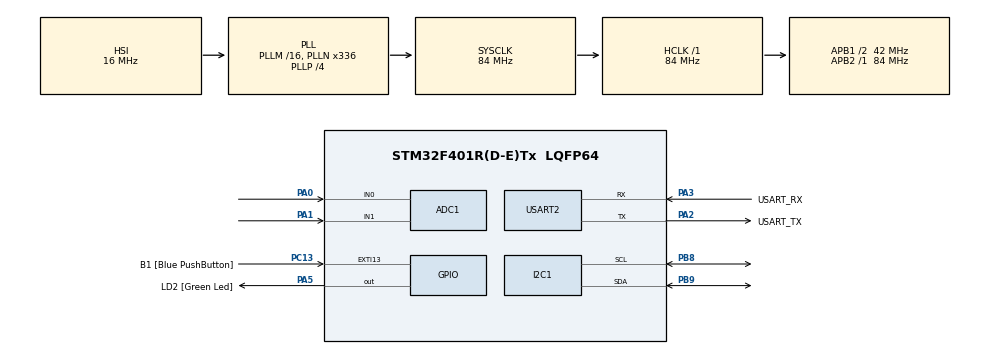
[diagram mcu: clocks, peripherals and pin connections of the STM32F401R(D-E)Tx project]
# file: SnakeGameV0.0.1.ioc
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ADC1.Channel-0\#ChannelRegularConversion=ADC_CHANNEL_0
ADC1.Channel-2\#ChannelRegularConversion=ADC_CHANNEL_1
ADC1.ContinuousConvMode=ENABLE
ADC1.DMAContinuousRequests=ENABLE
ADC1.NbrOfConversion=2
ADC1.NbrOfConversionFlag=1
ADC1.Rank-0\#ChannelRegularConversion=1
ADC1.Rank-2\#ChannelRegularConversion=2
ADC1.SamplingTime-0\#ChannelRegularConversion=ADC_SAMPLETIME_112CYCLES
ADC1.SamplingTime-2\#ChannelRegularConversion=ADC_SAMPLETIME_112CYCLES
ADC1.ScanConvMode=ENABLE
ADC1.master=1
Dma.ADC1.0.Direction=DMA_PERIPH_TO_MEMORY
Dma.ADC1.0.FIFOMode=DMA_FIFOMODE_DISABLE
Dma.ADC1.0.Instance=DMA2_Stream0
Dma.ADC1.0.MemDataAlignment=DMA_MDATAALIGN_HALFWORD
Dma.ADC1.0.MemInc=DMA_MINC_ENABLE
Dma.ADC1.0.Mode=DMA_CIRCULAR
Dma.ADC1.0.PeriphDataAlignment=DMA_PDATAALIGN_HALFWORD
Dma.ADC1.0.PeriphInc=DMA_PINC_DISABLE
Dma.ADC1.0.Priority=DMA_PRIORITY_LOW
Dma.Request0=ADC1
FREERTOS.BinarySemaphores01=ContinueGame,Dynamic,NULL,Available;NewScreen,Dynamic,NULL,Available;GameOver,Dynamic,NULL,Available
FREERTOS.Mutexes01=MutexForScreen,Dynamic,NULL,Available
FREERTOS.Queues01=Command,1,uint16_t,0,Dynamic,NULL,NULL
FREERTOS.Tasks01=defaultTask,24,128,StartDefaultTask,Default,NULL,Dynamic,NULL,NULL;GameLogic,9,256,StartGameLogic,Default,NULL,Dynamic,NULL,NULL;Stick,10,256,StartStick,Default,NULL,Dynamic,NULL,NULL;Screen,8,256,StartScreen,Default,NULL,Dynamic,NULL,NULL
FREERTOS.configUSE_NEWLIB_REENTRANT=1
I2C1.I2C_Mode=I2C_Fast
Mcu.Family=STM32F4
Mcu.Name=STM32F401R(D-E)Tx
Mcu.Package=LQFP64
NVIC.DMA2_Stream0_IRQn=true\:5\:0\:false\:false\:true\:true\:false\:true\:false
NVIC.PriorityGroup=NVIC_PRIORITYGROUP_4
NVIC.TIM1_UP_TIM10_IRQn=true\:15\:0\:false\:false\:true\:false\:false\:true\:true
NVIC.TimeBase=TIM1_UP_TIM10_IRQn
NVIC.TimeBaseIP=TIM1
PA0-WKUP.Signal=ADCx_IN0
PA1.Signal=ADCx_IN1
PA13.GPIO_Label=TMS
PA13.Mode=Trace_Asynchronous_SW
PA13.Signal=SYS_JTMS-SWDIO
PA14.GPIO_Label=TCK
PA14.Mode=Trace_Asynchronous_SW
PA14.Signal=SYS_JTCK-SWCLK
PA2.GPIO_Label=USART_TX
PA2.GPIO_Mode=GPIO_MODE_AF_PP
PA2.GPIO_PuPd=GPIO_NOPULL
PA2.GPIO_Speed=GPIO_SPEED_FREQ_LOW
PA2.Mode=Asynchronous
PA2.Signal=USART2_TX
PA3.GPIO_Label=USART_RX
PA3.GPIO_Mode=GPIO_MODE_AF_PP
PA3.GPIO_PuPd=GPIO_NOPULL
PA3.GPIO_Speed=GPIO_SPEED_FREQ_LOW
PA3.Mode=Asynchronous
PA3.Signal=USART2_RX
PA5.GPIO_Label=LD2 [Green Led]
PA5.GPIO_Mode=GPIO_MODE_OUTPUT_PP
PA5.GPIO_PuPd=GPIO_NOPULL
PA5.GPIO_Speed=GPIO_SPEED_FREQ_LOW
PA5.Signal=GPIO_Output
PB3.GPIO_Label=SWO
PB3.Mode=Trace_Asynchronous_SW
PB3.Signal=SYS_JTDO-SWO
PB8.Mode=I2C
PB8.Signal=I2C1_SCL
PB9.Mode=I2C
PB9.Signal=I2C1_SDA
PC13-ANTI_TAMP.GPIO_Label=B1 [Blue PushButton]
PC13-ANTI_TAMP.GPIO_ModeDefaultEXTI=GPIO_MODE_IT_FALLING
PC13-ANTI_TAMP.GPIO_PuPd=GPIO_NOPULL
PC13-ANTI_TAMP.Signal=GPXTI13
PC14-OSC32_IN.Mode=LSE-External-Oscillator
PC14-OSC32_IN.Signal=RCC_OSC32_IN
PC15-OSC32_OUT.Mode=LSE-External-Oscillator
PC15-OSC32_OUT.Signal=RCC_OSC32_OUT
PH0\ -\ OSC_IN.Mode=HSE-External-Clock-Source
PH0\ -\ OSC_IN.Signal=RCC_OSC_IN
PH1\ -\ OSC_OUT.Mode=HSE-External-Clock-Source
PH1\ -\ OSC_OUT.Signal=RCC_OSC_OUT
ProjectManager.HeapSize=0x200
ProjectManager.StackSize=0x400
ProjectManager.TargetToolchain=STM32CubeIDE
RCC.48MHZClocksFreq_Value=48000000
RCC.AHBFreq_Value=84000000
RCC.APB1CLKDivider=RCC_HCLK_DIV2
RCC.APB1Freq_Value=42000000
RCC.APB1TimFreq_Value=84000000
RCC.APB2Freq_Value=84000000
RCC.APB2TimFreq_Value=84000000
RCC.CortexFreq_Value=84000000
RCC.HCLKFreq_Value=84000000
RCC.HSE_VALUE=8000000
RCC.HSI_VALUE=16000000
RCC.PLLN=336
RCC.PLLP=RCC_PLLP_DIV4
RCC.PLLQ=7
RCC.SYSCLKFreq_VALUE=84000000
RCC.SYSCLKSource=RCC_SYSCLKSOURCE_PLLCLK
RCC.VCOOutputFreq_Value=336000000
SH.ADCx_IN0.0=ADC1_IN0,IN0
SH.ADCx_IN1.0=ADC1_IN1,IN1
USART2.VirtualMode=VM_ASYNC
VP_FREERTOS_VS_CMSIS_V2.Mode=CMSIS_V2
VP_SYS_VS_tim1.Mode=TIM1
board=NUCLEO-F401RE

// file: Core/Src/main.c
/* USER CODE BEGIN Header */
/**
  ******************************************************************************
  * @file           : main.c
  * @brief          : Main program body
  ******************************************************************************
  * @attention
  *
  * Copyright (c) 2025 STMicroelectronics.
  * All rights reserved.
  *
  * This software is licensed under terms that can be found in the LICENSE file
  * in the root directory of this software component.
  * If no LICENSE file comes with this software, it is provided AS-IS.
  *
  ******************************************************************************
  */
/* USER CODE END Header */
#include "main.h"
#include "cmsis_os.h"
#include "adc.h"
#include "dma.h"
#include "i2c.h"
#include "usart.h"
#include "gpio.h"

/* USER CODE BEGIN Includes */

#include "ssd1306.h"
#include "SEGGER_SYSVIEW_FreeRTOS.h"

/* USER CODE END Includes */

/* USER CODE BEGIN PV */

extern volatile uint16_t adc_buf[2];
#define DWT_CTRL (*(volatile uint32_t*)0xE0001000)
/* USER CODE END PV */

void SystemClock_Config(void);
void MX_FREERTOS_Init(void);

/* USER CODE BEGIN 0 */
extern Snake* mySnake;
/* USER CODE END 0 */

int main(void)
{

  /* MCU Configuration--------------------------------------------------------*/

  /* Reset of all peripherals, Initializes the Flash interface and the Systick. */
  HAL_Init();

  /* Configure the system clock */
  SystemClock_Config();

  /* Initialize all configured peripherals */
  MX_GPIO_Init();
  MX_DMA_Init();
  MX_USART2_UART_Init();
  MX_ADC1_Init();
  MX_I2C1_Init();
  /* USER CODE BEGIN 2 */

  Snake_SetUp(mySnake,(64-16)/2,128/2);

  ssd1306_Init();
  HAL_ADC_Start_DMA(&hadc1, (uint32_t*)adc_buf, 2);

  DWT_CTRL |= (1<<0);
  NVIC_SetPriorityGrouping( 0 );

  SEGGER_SYSVIEW_Conf();
  SEGGER_UART_init(500000);

  /* USER CODE END 2 */

  /* Init scheduler */
  osKernelInitialize();  /* Call init function for freertos objects (in cmsis_os2.c) */
  MX_FREERTOS_Init();

  /* Start scheduler */
  osKernelStart();

  /* We should never get here as control is now taken by the scheduler */

  /* Infinite loop */
  while (1)
  {

  }
}

void SystemClock_Config(void)
{
  RCC_OscInitTypeDef RCC_OscInitStruct = {0};
  RCC_ClkInitTypeDef RCC_ClkInitStruct = {0};

  /** Configure the main internal regulator output voltage
  */
  __HAL_RCC_PWR_CLK_ENABLE();
  __HAL_PWR_VOLTAGESCALING_CONFIG(PWR_REGULATOR_VOLTAGE_SCALE2);

  /** Initializes the RCC Oscillators according to the specified parameters
  * in the RCC_OscInitTypeDef structure.
  */
  RCC_OscInitStruct.OscillatorType = RCC_OSCILLATORTYPE_HSI;
  RCC_OscInitStruct.HSIState = RCC_HSI_ON;
  RCC_OscInitStruct.HSICalibrationValue = RCC_HSICALIBRATION_DEFAULT;
  RCC_OscInitStruct.PLL.PLLState = RCC_PLL_ON;
  RCC_OscInitStruct.PLL.PLLSource = RCC_PLLSOURCE_HSI;
  RCC_OscInitStruct.PLL.PLLM = 16;
  RCC_OscInitStruct.PLL.PLLN = 336;
  RCC_OscInitStruct.PLL.PLLP = RCC_PLLP_DIV4;
  RCC_OscInitStruct.PLL.PLLQ = 7;
  if (HAL_RCC_OscConfig(&RCC_OscInitStruct) != HAL_OK)
  {
    Error_Handler();
  }

  /** Initializes the CPU, AHB and APB buses clocks
  */
  RCC_ClkInitStruct.ClockType = RCC_CLOCKTYPE_HCLK|RCC_CLOCKTYPE_SYSCLK
                              |RCC_CLOCKTYPE_PCLK1|RCC_CLOCKTYPE_PCLK2;
  RCC_ClkInitStruct.SYSCLKSource = RCC_SYSCLKSOURCE_PLLCLK;
  RCC_ClkInitStruct.AHBCLKDivider = RCC_SYSCLK_DIV1;
  RCC_ClkInitStruct.APB1CLKDivider = RCC_HCLK_DIV2;
  RCC_ClkInitStruct.APB2CLKDivider = RCC_HCLK_DIV1;

  if (HAL_RCC_ClockConfig(&RCC_ClkInitStruct, FLASH_LATENCY_2) != HAL_OK)
  {
    Error_Handler();
  }
}

void HAL_TIM_PeriodElapsedCallback(TIM_HandleTypeDef *htim)
{
  if (htim->Instance == TIM1)
  {
    HAL_IncTick();
  }
}

void Error_Handler(void)
{
  __disable_irq();
  while (1)
  {
  }
}

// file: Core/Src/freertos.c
/* USER CODE BEGIN Header */
/**
  ******************************************************************************
  * File Name          : freertos.c
  * Description        : Code for freertos applications
  ******************************************************************************
  * @attention
  *
  * Copyright (c) 2025 STMicroelectronics.
  * All rights reserved.
  *
  * This software is licensed under terms that can be found in the LICENSE file
  * in the root directory of this software component.
  * If no LICENSE file comes with this software, it is provided AS-IS.
  *
  ******************************************************************************
  */
/* USER CODE END Header */

#include "FreeRTOS.h"
#include "task.h"
#include "main.h"
#include "cmsis_os.h"

/* USER CODE BEGIN Includes */

#include "ssd1306.h"
#include "ssd1306_conf.h"
#include "ssd1306_fonts.h"

#include "MyFunctions.h"
#include "ClassSnake.h"

#include "adc.h"
#include "queue.h"
#include <stdio.h>
#include "semphr.h"
/* USER CODE END Includes */

/* USER CODE BEGIN Variables */
Snake gSnakeObj;
Snake *mySnake = &gSnakeObj;

volatile uint16_t adc_buf[2];

/* USER CODE END Variables */
/* Definitions for defaultTask */
osThreadId_t defaultTaskHandle;
const osThreadAttr_t defaultTask_attributes = {
  .name = "defaultTask",
  .stack_size = 128 * 4,
  .priority = (osPriority_t) osPriorityNormal,
};
/* Definitions for GameLogic */
osThreadId_t GameLogicHandle;
const osThreadAttr_t GameLogic_attributes = {
  .name = "GameLogic",
  .stack_size = 256 * 4,
  .priority = (osPriority_t) osPriorityLow1,
};
/* Definitions for Stick */
osThreadId_t StickHandle;
const osThreadAttr_t Stick_attributes = {
  .name = "Stick",
  .stack_size = 256 * 4,
  .priority = (osPriority_t) osPriorityLow2,
};
/* Definitions for Screen */
osThreadId_t ScreenHandle;
const osThreadAttr_t Screen_attributes = {
  .name = "Screen",
  .stack_size = 256 * 4,
  .priority = (osPriority_t) osPriorityLow,
};
/* Definitions for Command */
osMessageQueueId_t CommandHandle;
const osMessageQueueAttr_t Command_attributes = {
  .name = "Command"
};
/* Definitions for MutexForScreen */
osMutexId_t MutexForScreenHandle;
const osMutexAttr_t MutexForScreen_attributes = {
  .name = "MutexForScreen"
};
/* Definitions for ContinueGame */
osSemaphoreId_t ContinueGameHandle;
const osSemaphoreAttr_t ContinueGame_attributes = {
  .name = "ContinueGame"
};
/* Definitions for NewScreen */
osSemaphoreId_t NewScreenHandle;
const osSemaphoreAttr_t NewScreen_attributes = {
  .name = "NewScreen"
};
/* Definitions for GameOver */
osSemaphoreId_t GameOverHandle;
const osSemaphoreAttr_t GameOver_attributes = {
  .name = "GameOver"
};

void StartDefaultTask(void *argument);
void StartGameLogic(void *argument);
void StartStick(void *argument);
void StartScreen(void *argument);

void MX_FREERTOS_Init(void); /* (MISRA C 2004 rule 8.1) */

void MX_FREERTOS_Init(void) {
  /* Create the mutex(es) */
  /* creation of MutexForScreen */
  MutexForScreenHandle = osMutexNew(&MutexForScreen_attributes);

  /* Create the semaphores(s) */
  /* creation of ContinueGame */
  ContinueGameHandle = osSemaphoreNew(1, 1, &ContinueGame_attributes);

  /* creation of NewScreen */
  NewScreenHandle = osSemaphoreNew(1, 1, &NewScreen_attributes);

  /* creation of GameOver */
  GameOverHandle = osSemaphoreNew(1, 1, &GameOver_attributes);

  /* Create the queue(s) */
  /* creation of Command */
  CommandHandle = osMessageQueueNew (1, sizeof(uint16_t), &Command_attributes);

  /* Create the thread(s) */
  /* creation of defaultTask */
  defaultTaskHandle = osThreadNew(StartDefaultTask, NULL, &defaultTask_attributes);

  /* creation of GameLogic */
  GameLogicHandle = osThreadNew(StartGameLogic, NULL, &GameLogic_attributes);

  /* creation of Stick */
  StickHandle = osThreadNew(StartStick, NULL, &Stick_attributes);

  /* creation of Screen */
  ScreenHandle = osThreadNew(StartScreen, NULL, &Screen_attributes);

}

void StartDefaultTask(void *argument)
{
  /* USER CODE BEGIN StartDefaultTask */
  /* Infinite loop */
  for(;;)
  {
    osDelay(10000);
  }
  /* USER CODE END StartDefaultTask */
}

void StartGameLogic(void *argument)
{
  for(;;)
  {
    // Game-over state: wait for user-triggered restart event
    if(mySnake->state == 0)
    {
      if(xSemaphoreTake(ContinueGameHandle, portMAX_DELAY) == pdTRUE)
      {
        if(xSemaphoreTake(MutexForScreenHandle, portMAX_DELAY) == pdTRUE)
        {
          Snake_Restart(mySnake);          // Reinitialise game state
          xSemaphoreGive(NewScreenHandle); // Trigger screen refresh
          xSemaphoreGive(MutexForScreenHandle);
        }
      }
    }
    else
    {
      // Receive latest direction command
      uint16_t dir = 0;
      if (xQueueReceive(CommandHandle, &dir, 0) == pdTRUE)
      {
        switch(dir)
        {
          case 1: Snake_SetDir(mySnake, dUp);    break;
          case 2: Snake_SetDir(mySnake, dDown);  break;
          case 3: Snake_SetDir(mySnake, dLeft);  break;
          case 4: Snake_SetDir(mySnake, dRight); break;
        }
      }

      // Update shared game state
      if(xSemaphoreTake(MutexForScreenHandle, portMAX_DELAY) == pdTRUE)
      {
        Snake_Move(mySnake);
        xSemaphoreGive(MutexForScreenHandle);
      }

      xSemaphoreGive(NewScreenHandle);

      // Signal game-over event
      if(mySnake->state == 0)
      {
        xSemaphoreGive(GameOverHandle);
        osDelay(1000);
        xSemaphoreTake(ContinueGameHandle, 0);
      }
    }

    osDelay(150);
  }

  /* USER CODE END StartGameLogic */
}

void StartStick(void *argument)
{
  for(;;)
  {
    uint16_t dir = 0;

    // Get the direction based on the threshold
    if(adc_buf[0] < 1000)
    {
      dir = 1;
      xQueueOverwrite(CommandHandle, &dir); // Keep only latest input
      xSemaphoreGive(ContinueGameHandle);   // Also used to restart game
    }
    else if(adc_buf[0] > 3000)
    {
      dir = 2;
      xQueueOverwrite(CommandHandle, &dir);
      xSemaphoreGive(ContinueGameHandle);
    }
    else if(adc_buf[1] < 1000)
    {
      dir = 3;
      xQueueOverwrite(CommandHandle, &dir);
      xSemaphoreGive(ContinueGameHandle);
    }
    else if(adc_buf[1] > 3000)
    {
      dir = 4;
      xQueueOverwrite(CommandHandle, &dir);
      xSemaphoreGive(ContinueGameHandle);
    }

    osDelay(10);
  }

  /* USER CODE END StartStick */
}

void StartScreen(void *argument)
{
  for(;;)
  {
    // Event-driven screen update
    if(xSemaphoreTake(NewScreenHandle, portMAX_DELAY) == pdTRUE)
    {
      char str[20];

      // Read shared snake and set the screen buffer
      if(xSemaphoreTake(MutexForScreenHandle, portMAX_DELAY) == pdTRUE)
      {
        sprintf(str, "Score is %d", mySnake->bodyLength);

        ssd1306_Fill(Black);
        ssd1306_SetCursor(0, 0);
        ssd1306_WriteString(str, Font_11x18, White);

        int x = mySnake->screenHeight;
        int y = mySnake->screenLength;

        for(int i = 0; i < x; i++)
        {
          for(int j = 0; j < y; j++)
          {
            if(mySnake->screen[i][j] != 0)
            {
              SetBigPixiv(j, i, 1);
            }
          }
        }

        xSemaphoreGive(MutexForScreenHandle);
      }

      // Display game-over message if signalled
      if (xSemaphoreTake(GameOverHandle, 0) == pdTRUE)
      {
        ssd1306_SetCursor(0, 16);
        ssd1306_WriteString("Game Over", Font_11x18, White);
      }

      // Update screen
      ssd1306_UpdateScreen();
    }

    osDelay(10);
  }

  /* USER CODE END StartScreen */
}
